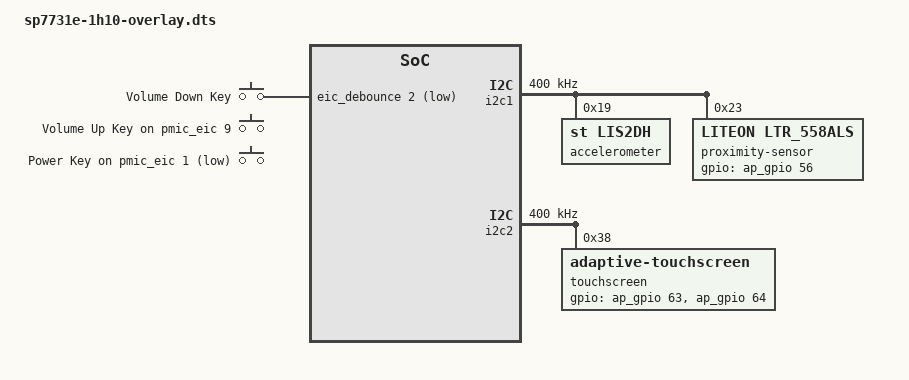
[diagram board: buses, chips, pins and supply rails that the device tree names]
/*
 * Spreadtrum sharkle sp7731e board DTS file
 *
 * Copyright (C) 2019, Spreadtrum Communications Inc.
 *
 * This file is licensed under a dual GPLv2 or X11 license.
 */
/dts-v1/;
/plugin/;
#include <dt-bindings/input/input.h>
#include <dt-bindings/gpio/gpio.h>

#include <dt-bindings/input/input.h>
#include <dt-bindings/gpio/gpio.h>

/ {
	/*
	* When create a new node, we should use the key word __overlay__,
	* otherwise u-boot can not analyze it.
	*/
	fragment {
		target-path = "/";
		__overlay__ {
			gpio-keys {
				compatible = "gpio-keys";

				key-volumedown {
					label = "Volume Down Key";
					linux,code = <KEY_VOLUMEDOWN>;
					gpios = <&eic_debounce 2 GPIO_ACTIVE_LOW>;
					debounce-interval = <2>;
					wakeup-source;
				};

				key-volumeup {
					label = "Volume Up Key";
					linux,code = <KEY_VOLUMEUP>;
					gpios = <&pmic_eic 9 GPIO_ACTIVE_HIGH>;
					debounce-interval = <2>;
					wakeup-source;
				};

				key-power {
					label = "Power Key";
					linux,code = <KEY_POWER>;
					gpios = <&pmic_eic 1 GPIO_ACTIVE_LOW>;
					debounce-interval = <2>;
					wakeup-source;
				};
			};
		};
	};
};

&reserved_memory {
	fd_reserved: faceid-mem {
		reg = <0x9f000000 0x00500000>;
	};
};

&i2c1 {
	status = "okay";
	clock-frequency = <400000>;

	accelerometer@19 {
		compatible = "st,lis2dh", "st,lis2dh12";
		reg = <0x19>;
	};

	proximity-sensor@23 {
		compatible = "LITEON,ltr_558als";
		reg = <0x23>;
		gpios = <&ap_gpio 56 GPIO_ACTIVE_HIGH>;
		/*
		 *low sensitve(def):1500,250,220,1800,1600,1;
		 *have no sensitve=<> as def.
		 * High sensitve:1000,40,35,1200,1000,48
		 */
		sensitive = <1000 40 35
					1200 1000 48>;
		luxcorrection = <3500>;
	};
};

&i2c2 {
	status = "okay";
	clock-frequency = <400000>;
	touchscreen@38 {
		compatible = "adaptive-touchscreen";
		reg = <0x38>;
		gpios = <&ap_gpio 63 GPIO_ACTIVE_HIGH
			&ap_gpio 64 GPIO_ACTIVE_HIGH>;
		controller = "focaltech,FT5436";
		virtualkeys = <580 60 1320 60 45
			172 360 1320 60 45
			158 600 1320 60 45>;
		private-data {
			a8 = /bits/ 8 <0x5A>;
		};
	};
};
